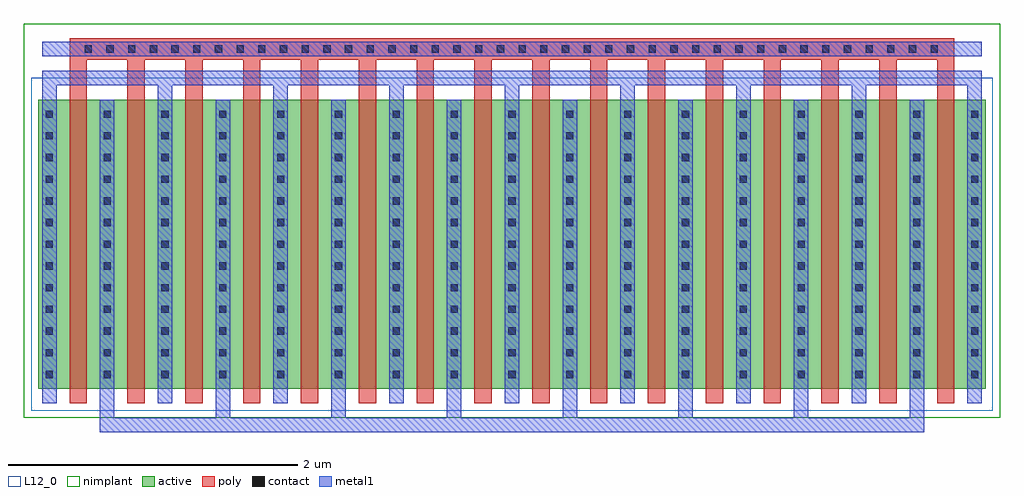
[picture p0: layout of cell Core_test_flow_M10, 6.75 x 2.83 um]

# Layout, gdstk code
import gdstk
lib = gdstk.Library(unit=1e-6, precision=1e-09)
def R(c, l, rs):  # rectangles x0, y0, x1, y1
    for r in rs: c.add(gdstk.rectangle(r[:2], r[2:], *l))
def A(c, l, x, y, w, h, nx, ny, dx, dy):  # array of equal rectangles
    R(c, l, [(x+i*dx, y+j*dy, x+i*dx+w, y+j*dy+h) for i in range(nx) for j in range(ny)])
active = (6, 0)
L12_0 = (12, 0)
poly = (17, 0)
nimplant = (26, 0)
contact = (30, 0)
metal1 = (31, 0)

core_test_flow_m10 = lib.new_cell('Core_test_flow_M10')
R(core_test_flow_m10, active, [(-0.075,0.05,6.475,2.05)])
R(core_test_flow_m10, L12_0, [(-0.125,-0.1,6.525,2.2)])
A(core_test_flow_m10, poly, 0.14, -0.05, 0.12, 2.2, 16, 1, 0.4, 0)
A(core_test_flow_m10, poly, 0.14, 2.05, 0.12, 0.3, 16, 1, 0.4, 0)
R(core_test_flow_m10, poly, [(0.14,2.325,6.26,2.475)])
R(core_test_flow_m10, nimplant, [(-0.175,-0.15,6.575,2.575)])
A(core_test_flow_m10, contact, -0.025, 0.125, 0.05, 0.05, 17, 13, 0.4, 0.15)
A(core_test_flow_m10, contact, 0.245, 2.375, 0.05, 0.05, 40, 1, 0.15, 0)
A(core_test_flow_m10, metal1, 0.35, -0.15, 0.1, 0.1, 8, 1, 0.8, 0)
A(core_test_flow_m10, metal1, -0.05, -0.05, 0.1, 2.1, 17, 1, 0.4, 0)
A(core_test_flow_m10, metal1, -0.05, 0.05, 0.1, 2, 17, 1, 0.4, 0)
A(core_test_flow_m10, metal1, -0.05, 2.05, 0.1, 0.1, 9, 1, 0.8, 0)
R(core_test_flow_m10, metal1, [(0.35,-0.25,6.05,-0.15), (-0.05,2.15,6.45,2.25), (-0.05,2.35,6.45,2.45), (0.14,2.35,6.26,2.45)])

lib.write_gds('Core_test_flow_M10.gds')
